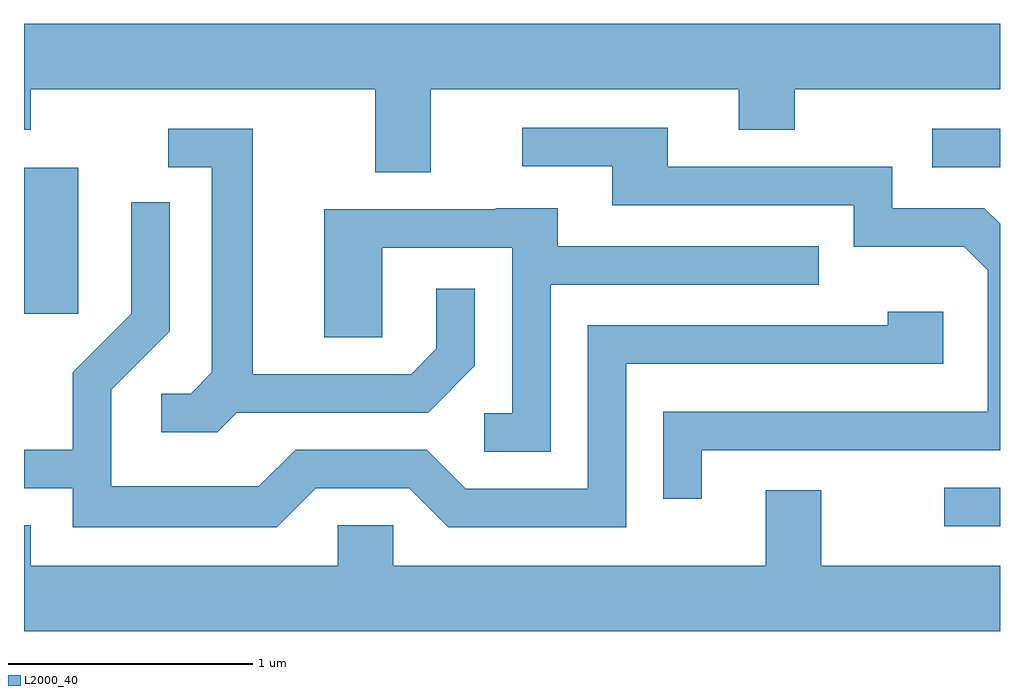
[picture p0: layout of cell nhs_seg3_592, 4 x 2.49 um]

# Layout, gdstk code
import gdstk
lib = gdstk.Library(unit=1e-6, precision=1e-09)
def R(c, l, rs):  # rectangles x0, y0, x1, y1
    for r in rs: c.add(gdstk.rectangle(r[:2], r[2:], *l))
def P(c, l, *ps):  # polygons
    for p in ps: c.add(gdstk.Polygon(p, *l))
L2000_40 = (2000, 40)

nhs_seg3_592 = lib.new_cell('nhs_seg3_592')
R(nhs_seg3_592, L2000_40, [(205.383,1213.026,205.611,1213.184), (201.611,1213.896,201.834,1214.494), (205.333,1214.496,205.611,1214.654)])
P(nhs_seg3_592, L2000_40, [(203.279,1214.816),(204.541,1214.816),(204.541,1214.651),(204.769,1214.651),(204.769,1214.816),(205.611,1214.816),(205.611,1215.084),(201.611,1215.084),(201.611,1214.651),(201.639,1214.651),(201.639,1214.816),(203.051,1214.816),(203.051,1214.476),(203.279,1214.476)],
  [(204.389,1213.336),(205.611,1213.336),(205.611,1214.265),(205.547,1214.329),(205.169,1214.329),(205.169,1214.499),(204.249,1214.499),(204.249,1214.659),(203.653,1214.659),(203.653,1214.501),(204.021,1214.501),(204.021,1214.341),(205.011,1214.341),(205.011,1214.171),(205.464,1214.171),(205.561,1214.074),(205.561,1213.494),(204.231,1213.494),(204.231,1213.138),(204.389,1213.138)],
  [(202.482,1213.491),(203.267,1213.491),(203.459,1213.684),(203.459,1213.998),(203.301,1213.998),(203.301,1213.752),(203.199,1213.649),(202.549,1213.649),(202.549,1214.654),(202.203,1214.654),(202.203,1214.496),(202.381,1214.496),(202.381,1213.657),(202.294,1213.569),(202.173,1213.569),(202.173,1213.411),(202.402,1213.411)],
  [(202.807,1213.181),(203.189,1213.181),(203.349,1213.021),(204.079,1213.021),(204.079,1213.691),(205.379,1213.691),(205.379,1213.904),(205.151,1213.904),(205.151,1213.849),(203.921,1213.849),(203.921,1213.179),(203.422,1213.179),(203.262,1213.339),(202.724,1213.339),(202.574,1213.189),(201.969,1213.189),(201.969,1213.584),(202.209,1213.824),(202.209,1214.353),(202.051,1214.353),(202.051,1213.897),(201.811,1213.657),(201.811,1213.339),(201.611,1213.339),(201.611,1213.181),(201.811,1213.181),(201.811,1213.021),(202.647,1213.021)],
  [(203.769,1214.016),(204.868,1214.016),(204.868,1214.174),(203.799,1214.174),(203.799,1214.329),(203.545,1214.329),(203.545,1214.324),(202.841,1214.324),(202.841,1213.801),(203.079,1213.801),(203.079,1214.166),(203.611,1214.166),(203.611,1213.489),(203.498,1213.489),(203.498,1213.331),(203.769,1213.331)],
  [(205.611,1212.864),(204.879,1212.864),(204.879,1213.174),(204.651,1213.174),(204.651,1212.864),(203.124,1212.864),(203.124,1213.029),(202.896,1213.029),(202.896,1212.864),(201.639,1212.864),(201.639,1213.029),(201.611,1213.029),(201.611,1212.596),(205.611,1212.596)])

lib.write_gds('nhs_seg3_592.gds')
